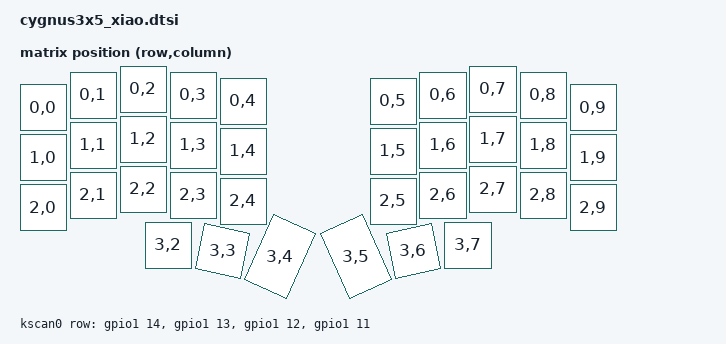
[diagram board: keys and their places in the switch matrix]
/*
 * Copyright (c) 2024 The ZMK Contributors
 *
 * SPDX-License-Identifier: MIT
 */

#include <dt-bindings/zmk/matrix_transform.h>
#include <physical_layouts.dtsi>

/ {
    chosen {
        zmk,kscan = &kscan0;
        zmk,physical-layout = &cygnus3x5_xiao_layout;
    };

    /*
     * Physical key positions - the 3x6 Cygnus layout with the outer
     * column on each side removed (same as the upstream corne shield's
     * 5-column layout). Required for ZMK Studio (CONFIG_ZMK_STUDIO)
     * to build.
     */
    cygnus3x5_xiao_layout: cygnus3x5_xiao_layout {
        compatible = "zmk,physical-layout";
        display-name = "Cygnus 3x5";
        transform = <&default_transform>;

        keys  //                     w   h    x    y     rot    rx    ry
            = <&key_physical_attrs 100 100    0   37       0     0     0>
            , <&key_physical_attrs 100 100  100   12       0     0     0>
            , <&key_physical_attrs 100 100  200    0       0     0     0>
            , <&key_physical_attrs 100 100  300   12       0     0     0>
            , <&key_physical_attrs 100 100  400   24       0     0     0>
            , <&key_physical_attrs 100 100  700   24       0     0     0>
            , <&key_physical_attrs 100 100  800   12       0     0     0>
            , <&key_physical_attrs 100 100  900    0       0     0     0>
            , <&key_physical_attrs 100 100 1000   12       0     0     0>
            , <&key_physical_attrs 100 100 1100   37       0     0     0>
            , <&key_physical_attrs 100 100    0  137       0     0     0>
            , <&key_physical_attrs 100 100  100  112       0     0     0>
            , <&key_physical_attrs 100 100  200  100       0     0     0>
            , <&key_physical_attrs 100 100  300  112       0     0     0>
            , <&key_physical_attrs 100 100  400  124       0     0     0>
            , <&key_physical_attrs 100 100  700  124       0     0     0>
            , <&key_physical_attrs 100 100  800  112       0     0     0>
            , <&key_physical_attrs 100 100  900  100       0     0     0>
            , <&key_physical_attrs 100 100 1000  112       0     0     0>
            , <&key_physical_attrs 100 100 1100  137       0     0     0>
            , <&key_physical_attrs 100 100    0  237       0     0     0>
            , <&key_physical_attrs 100 100  100  212       0     0     0>
            , <&key_physical_attrs 100 100  200  200       0     0     0>
            , <&key_physical_attrs 100 100  300  212       0     0     0>
            , <&key_physical_attrs 100 100  400  224       0     0     0>
            , <&key_physical_attrs 100 100  700  224       0     0     0>
            , <&key_physical_attrs 100 100  800  212       0     0     0>
            , <&key_physical_attrs 100 100  900  200       0     0     0>
            , <&key_physical_attrs 100 100 1000  212       0     0     0>
            , <&key_physical_attrs 100 100 1100  237       0     0     0>
            , <&key_physical_attrs 100 100  250  312       0     0     0>
            , <&key_physical_attrs 100 100  350  312    1200   350   412>
            , <&key_physical_attrs 100 150  448  283    2400   448   433>
            , <&key_physical_attrs 100 150  652  283  (-2400)  752   433>
            , <&key_physical_attrs 100 100  750  312  (-1200)  850   412>
            , <&key_physical_attrs 100 100  850  312       0     0     0>
        ;
    };

    /*
     * Cygnus 3x5 - same position numbering as the upstream ZMK corne
     * shield's 5-column variant (4 rows x 10 cols, thumb keys on row 3).
     */
    default_transform: keymap_transform_0 {
        compatible = "zmk,matrix-transform";
        columns = <10>;
        rows = <4>;
// | SW1  | SW2  | SW3  | SW4  | SW5  |   | SW5  | SW4  | SW3  | SW2  | SW1  |
// | SW6  | SW7  | SW8  | SW9  | SW10 |   | SW10 | SW9  | SW8  | SW7  | SW6  |
// | SW11 | SW12 | SW13 | SW14 | SW15 |   | SW15 | SW14 | SW13 | SW12 | SW11 |
//               | SW16 | SW17 | SW18 |   | SW18 | SW17 | SW16 |
        map = <
RC(0,0) RC(0,1) RC(0,2) RC(0,3) RC(0,4)  RC(0,5) RC(0,6) RC(0,7) RC(0,8) RC(0,9)
RC(1,0) RC(1,1) RC(1,2) RC(1,3) RC(1,4)  RC(1,5) RC(1,6) RC(1,7) RC(1,8) RC(1,9)
RC(2,0) RC(2,1) RC(2,2) RC(2,3) RC(2,4)  RC(2,5) RC(2,6) RC(2,7) RC(2,8) RC(2,9)
                RC(3,2) RC(3,3) RC(3,4)  RC(3,5) RC(3,6) RC(3,7)
        >;
    };

    /*
     * row-gpios are shared between both halves (rows aren't mirrored
     * left/right, only columns are). col-gpios are set per-side in
     * cygnus3x5_xiao_left.overlay / cygnus3x5_xiao_right.overlay.
     *
     * XIAO BLE pin -> nRF52840 GPIO:
     *   D6 = P1.11, D7 = P1.12, D8 = P1.13, D9 = P1.14
     */
    kscan0: kscan {
        compatible = "zmk,kscan-gpio-matrix";
        wakeup-source;

        diode-direction = "col2row";
        row-gpios
            = <&gpio1 14 (GPIO_ACTIVE_HIGH | GPIO_PULL_DOWN)>   // D9 - Row0
            , <&gpio1 13 (GPIO_ACTIVE_HIGH | GPIO_PULL_DOWN)>   // D8 - Row1
            , <&gpio1 12 (GPIO_ACTIVE_HIGH | GPIO_PULL_DOWN)>   // D7 - Row2
            , <&gpio1 11 (GPIO_ACTIVE_HIGH | GPIO_PULL_DOWN)>   // D6 - Row3 (thumb)
            ;
    };
};
